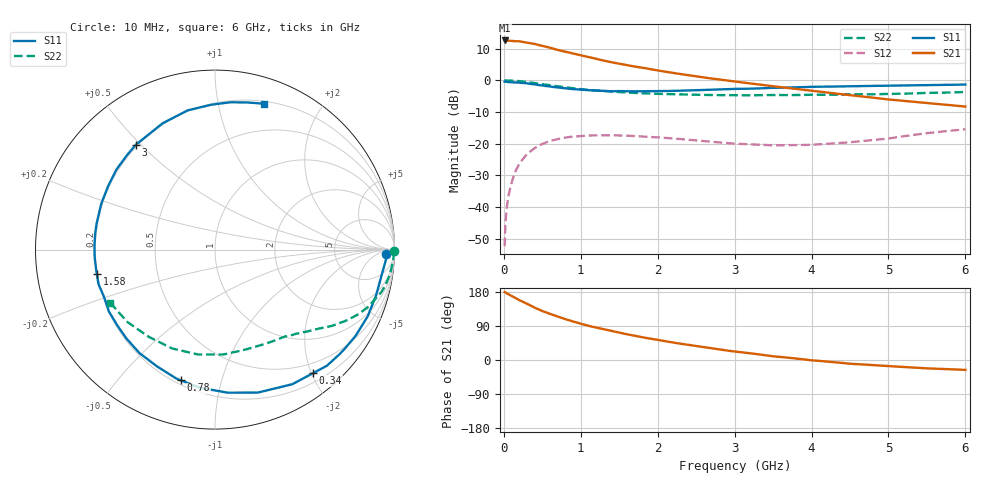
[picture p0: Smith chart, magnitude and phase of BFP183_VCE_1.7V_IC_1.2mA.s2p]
! Infineon Technologies  Discrete & RF Semiconductors
! BFP183
! VCE = 1.7 V,  IC =  1.2 mA
! Common Emitter S-Parameters:  Jan 2016
# GHz  S  MA  R  50
!  f  S11  S21  S12  S22
! GHz  MAG  ANG  MAG  ANG  MAG  ANG  MAG  ANG
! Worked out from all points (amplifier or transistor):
!   210 points, 10 MHz to 6 GHz, reference 50 ohm
!   highest |S21| = 12.6 dB at 10 MHz (marker M1)
!   |S21| within 3 dB of that: start of sweep to 701.4 MHz
!   unconditionally stable (mu >= 1): 2.355 GHz to end of sweep
!   at 185 MHz: K = 0.08, MSG = 19.7 dB, |S12| = -27.1 dB
!   at 1.52 GHz: K = 0.62, MSG = 11.3 dB, |S12| = -17.4 dB
!   at 6 GHz: K = 1.07, MAG = 2.0 dB, |S12| = -15.5 dB
!   S11 on the Smith chart (normalised r, x): 10 MHz: 31, -17; 340 MHz: 0.34, -2.03; 780 MHz: 0.22, -0.75; 1.58 GHz: 0.20, -0.10; 3 GHz: 0.19, +0.48; 6 GHz: 0.22, +1.37
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0.01  0.9518 -1.6  4.265 179.3  0.0024 85.2  0.9999 -0.6
0.02  0.9544 -3.2  4.259 178.4  0.0051 87.5  0.9961 -1.2
0.035  0.9466 -5.6  4.256 176.5  0.0088 86.2  0.9956 -2.0
0.055  0.939 -8.8  4.251 174.1  0.0136 84.7  0.9945 -3.1
0.095  0.9331 -14.9  4.208 169.7  0.0227 80.5  0.9896 -5.4
0.2  0.9191 -31.4  4.142 158.2  0.0475 71.5  0.9715 -11.3
0.26  0.906 -40.1  4.015 152.1  0.0596 66.6  0.9559 -14.4
0.34  0.8789 -51.5  3.85 144.6  0.0744 59.3  0.928 -18.0
0.4  0.8651 -60.1  3.756 138.2  0.085 55.0  0.9091 -20.7
0.5  0.8315 -73.4  3.507 129.2  0.0989 47.8  0.8714 -24.7
0.6  0.8001 -85.0  3.272 121.6  0.11 41.5  0.8362 -28.0
0.78  0.7528 -104.6  2.879 109.0  0.1236 32.1  0.7821 -32.7
1.02  0.7095 -127.8  2.453 94.6  0.1323 21.9  0.721 -37.9
1.3  0.6843 -149.8  2.049 80.9  0.1357 12.8  0.6758 -42.8
1.58  0.6722 -168.4  1.756 68.7  0.134 6.2  0.6456 -47.1
2.02  0.6755 166.5  1.419 52.3  0.1253 -0.2  0.6112 -54.4
2.58  0.7052 141.9  1.118 34.3  0.1099 -3.8  0.589 -65.0
3  0.7319 127.0  0.96 22.2  0.0999 -2.4  0.582 -74.0
3.1  0.734 124.0  0.926 20.1  0.0987 -1.2  0.581 -76.3
4.1  0.7921 99.1  0.663 -2.4  0.0975 13.7  0.5907 -102.0
5.1  0.8272 82.7  0.486 -17.3  0.1257 24.6  0.6123 -130.0
6  0.857 71.5  0.385 -26.1  0.1686 20.9  0.6549 -153.2
